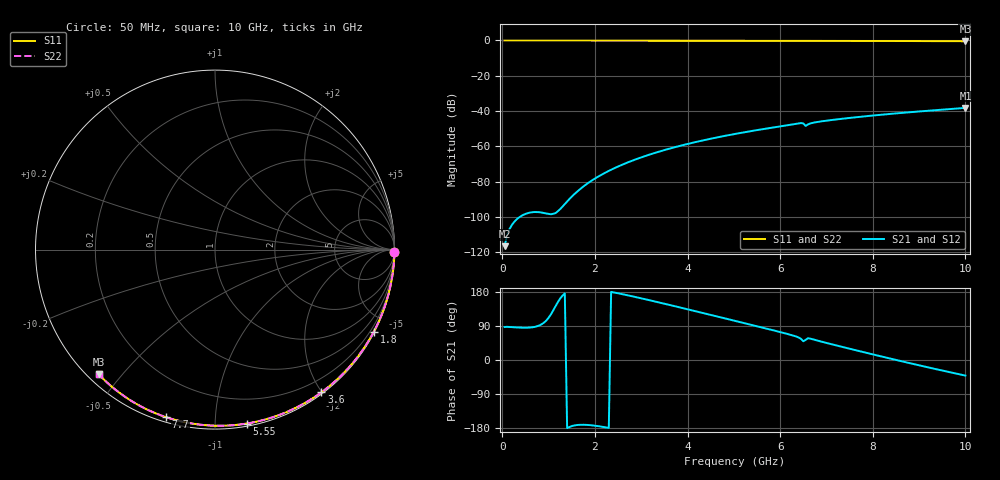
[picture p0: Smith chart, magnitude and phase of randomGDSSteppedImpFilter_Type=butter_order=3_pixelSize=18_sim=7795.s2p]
! freq	dB(S11)	phase(S11)	dB(S12)	phase(S12)
!  dB(S21)	phase(S21)	dB(S22)	phase(S22)
!S-par simulation data
#  GHz  S  DB  R 50
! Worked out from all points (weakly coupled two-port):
!   200 points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, 50 MHz to 10 GHz, reference 50 ohm
!   highest |S21| = -38.23 dB at 10 GHz (marker M1); lowest = -116.6 dB at 50 MHz (marker M2)
!   lowest |S11| = -0.4 dB at 10 GHz (marker M3), VSWR 39.17, Z = 1.52 - j21.7 ohm
!   |S11| at or under -10 dB: nowhere
!   |S22| runs from -0.4 to 0.0 dB; largest |S21 - S12| = 0
!   S11 on the Smith chart (normalised r, x): 50 MHz: open; 1.8 GHz: 0.04, -4.12; 3.6 GHz: 0.02, -1.99; 5.55 GHz: 0.02, -1.20; 7.7 GHz: 0.02, -0.75; 10 GHz: 0.03, -0.43
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0.05  -0.00 -0.8  -116.61 87.0  -116.61 87.0  -0.00 -0.8
0.9  -0.02 -13.8  -97.81 98.5  -97.81 98.5  -0.02 -13.8
1.75  -0.03 -26.5  -82.80 -170.9  -82.80 -170.9  -0.03 -26.5
1.8  -0.03 -27.3  -81.82 -171.1  -81.82 -171.1  -0.03 -27.3
1.9  -0.04 -28.8  -79.98 -172.0  -79.98 -172.0  -0.04 -28.8
2.25  -0.04 -33.9  -74.59 -178.1  -74.59 -178.1  -0.04 -33.9
2.65  -0.05 -39.8  -69.76 172.3  -69.76 172.3  -0.05 -39.8
3  -0.06 -44.8  -66.29 162.8  -66.29 162.8  -0.06 -44.8
3.4  -0.07 -50.5  -62.90 151.4  -62.90 151.4  -0.07 -50.5
3.6  -0.07 -53.3  -61.40 145.6  -61.40 145.6  -0.07 -53.3
4.3  -0.09 -63.0  -56.85 125.0  -56.85 125.0  -0.09 -63.0
5.05  -0.11 -73.1  -52.88 102.6  -52.88 102.6  -0.11 -73.1
5.55  -0.13 -79.6  -50.60 87.5  -50.60 87.5  -0.13 -79.6
6.45  -0.17 -91.1  -46.83 55.8  -46.83 55.8  -0.17 -91.1
6.5  -0.17 -91.7  -47.01 49.6  -47.01 49.6  -0.17 -91.7
6.55  -0.17 -92.3  -48.45 53.0  -48.45 53.0  -0.17 -92.3
6.6  -0.18 -92.9  -47.61 57.5  -47.61 57.5  -0.18 -92.9
6.7  -0.18 -94.2  -46.72 54.7  -46.72 54.7  -0.18 -94.2
7.05  -0.20 -98.5  -45.30 43.4  -45.30 43.4  -0.20 -98.5
7.7  -0.24 -106.3  -43.36 23.7  -43.36 23.7  -0.24 -106.3
8.35  -0.29 -114.0  -41.70 4.5  -41.70 4.5  -0.29 -114.0
10  -0.44 -133.0  -38.23 -41.2  -38.23 -41.2  -0.44 -133.0
